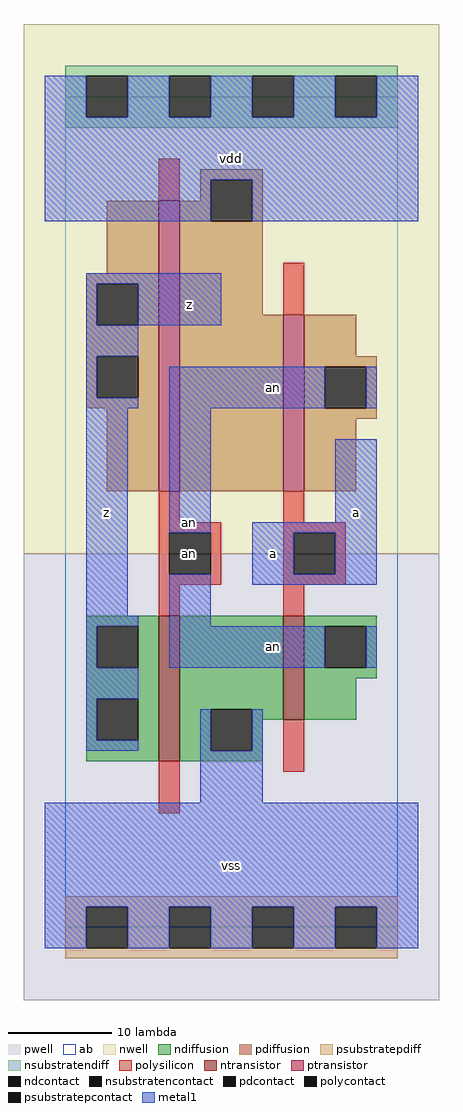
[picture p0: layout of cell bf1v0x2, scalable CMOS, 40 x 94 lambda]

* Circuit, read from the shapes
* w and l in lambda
.subckt bf1v0x2 a an vdd vss z
M1 vss an z vss nfet w=14 l=2
M2 an a vss vss nfet w=10 l=2
M3 vdd an z vdd pfet w=28 l=2
M4 an a vdd vdd pfet w=17 l=2
.ends

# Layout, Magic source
magic
tech scmos
<< ab >>
rect 0 0 32 80
<< pwell >>
rect -4 -7 36 36
<< nwell >>
rect -4 36 36 87
<< polysilicon >>
rect 9 70 11 74
rect 21 59 23 64
rect 9 39 11 42
rect 21 39 23 42
rect 9 38 15 39
rect 9 34 10 38
rect 14 34 15 38
rect 9 33 15 34
rect 21 38 27 39
rect 21 34 22 38
rect 26 34 27 38
rect 21 33 27 34
rect 9 30 11 33
rect 21 30 23 33
rect 9 11 11 16
rect 21 15 23 20
<< ndiffusion >>
rect 2 29 9 30
rect 2 25 3 29
rect 7 25 9 29
rect 2 22 9 25
rect 2 18 3 22
rect 7 18 9 22
rect 2 16 9 18
rect 11 21 21 30
rect 11 17 14 21
rect 18 20 21 21
rect 23 29 30 30
rect 23 25 25 29
rect 29 25 30 29
rect 23 24 30 25
rect 23 20 28 24
rect 18 17 19 20
rect 11 16 19 17
<< pdiffusion >>
rect 13 72 19 73
rect 13 70 14 72
rect 4 63 9 70
rect 2 62 9 63
rect 2 58 3 62
rect 7 58 9 62
rect 2 55 9 58
rect 2 51 3 55
rect 7 51 9 55
rect 2 50 9 51
rect 4 42 9 50
rect 11 68 14 70
rect 18 68 19 72
rect 11 59 19 68
rect 11 42 21 59
rect 23 55 28 59
rect 23 54 30 55
rect 23 50 25 54
rect 29 50 30 54
rect 23 49 30 50
rect 23 42 28 49
<< metal1 >>
rect -2 78 2 82
rect 6 78 10 82
rect 14 78 18 82
rect 22 78 26 82
rect 30 78 34 82
rect -2 72 34 78
rect -2 68 14 72
rect 18 68 34 72
rect 2 62 15 63
rect 2 58 3 62
rect 7 58 15 62
rect 2 55 7 58
rect 2 51 3 55
rect 2 50 7 51
rect 10 50 25 54
rect 29 50 30 54
rect 2 30 6 50
rect 10 38 14 50
rect 26 39 30 47
rect 2 29 7 30
rect 2 25 3 29
rect 10 29 14 34
rect 18 38 30 39
rect 18 34 22 38
rect 26 34 30 38
rect 18 33 30 34
rect 10 25 25 29
rect 29 25 30 29
rect 2 22 7 25
rect 2 18 3 22
rect 2 17 7 18
rect 13 17 14 21
rect 18 17 19 21
rect 13 12 19 17
rect -2 2 34 12
rect -2 -2 2 2
rect 6 -2 10 2
rect 14 -2 18 2
rect 22 -2 26 2
rect 30 -2 34 2
<< ntransistor >>
rect 9 16 11 30
rect 21 20 23 30
<< ptransistor >>
rect 9 42 11 70
rect 21 42 23 59
<< polycontact >>
rect 10 34 14 38
rect 22 34 26 38
<< ndcontact >>
rect 3 25 7 29
rect 3 18 7 22
rect 14 17 18 21
rect 25 25 29 29
<< pdcontact >>
rect 3 58 7 62
rect 3 51 7 55
rect 14 68 18 72
rect 25 50 29 54
<< psubstratepcontact >>
rect 2 -2 6 2
rect 10 -2 14 2
rect 18 -2 22 2
rect 26 -2 30 2
<< nsubstratencontact >>
rect 2 78 6 82
rect 10 78 14 82
rect 18 78 22 82
rect 26 78 30 82
<< psubstratepdiff >>
rect 0 2 32 3
rect 0 -2 2 2
rect 6 -2 10 2
rect 14 -2 18 2
rect 22 -2 26 2
rect 30 -2 32 2
rect 0 -3 32 -2
<< nsubstratendiff >>
rect 0 82 32 83
rect 0 78 2 82
rect 6 78 10 82
rect 14 78 18 82
rect 22 78 26 82
rect 30 78 32 82
rect 0 77 32 78
<< labels >>
rlabel polycontact 12 36 12 36 6 an
rlabel metal1 4 40 4 40 6 z
rlabel metal1 12 39 12 39 6 an
rlabel metal1 12 60 12 60 6 z
rlabel metal1 16 6 16 6 6 vss
rlabel metal1 20 36 20 36 6 a
rlabel metal1 16 74 16 74 6 vdd
rlabel metal1 20 27 20 27 6 an
rlabel metal1 28 40 28 40 6 a
rlabel metal1 20 52 20 52 6 an
<< end >>
